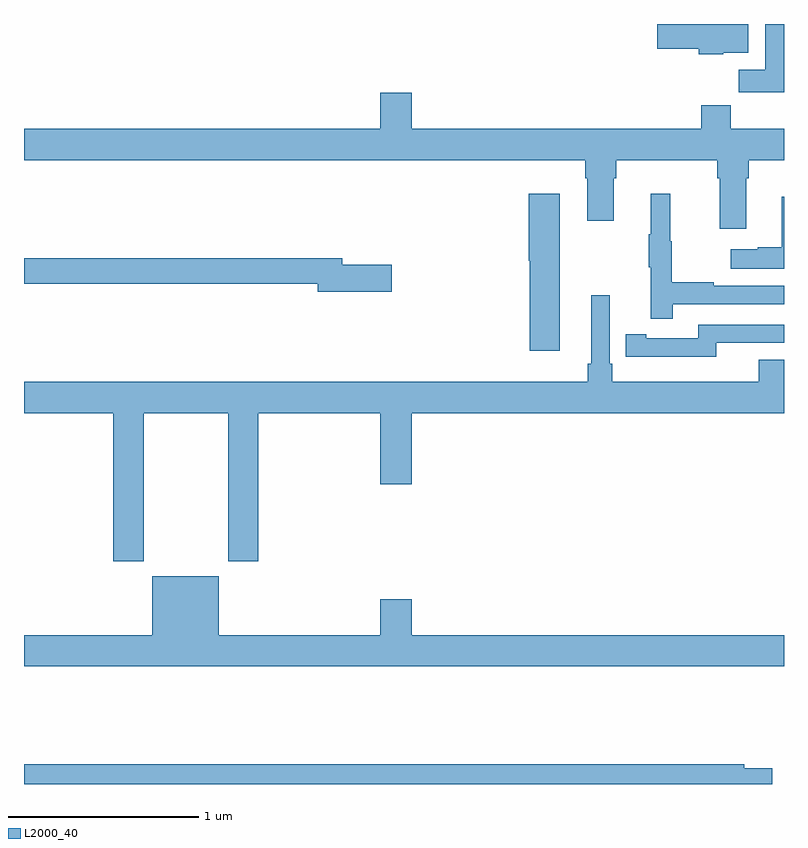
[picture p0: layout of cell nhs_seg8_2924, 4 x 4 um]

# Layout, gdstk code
import gdstk
lib = gdstk.Library(unit=1e-6, precision=1e-09)
def P(c, l, *ps):  # polygons
    for p in ps: c.add(gdstk.Polygon(p, *l))
L2000_40 = (2000, 40)

nhs_seg8_2924 = lib.new_cell('nhs_seg8_2924')
P(nhs_seg8_2924, L2000_40, [(299,1099.9),(298.901,1099.9),(298.901,1099.66),(298.762,1099.66),(298.762,1099.542),(299,1099.542)],
  [(298.68,1099.748),(298.813,1099.748),(298.813,1099.9),(298.332,1099.9),(298.332,1099.771),(298.55,1099.771),(298.55,1099.742),(298.68,1099.742)],
  [(297.04,1099.537),(296.876,1099.537),(296.876,1099.348),(295,1099.348),(295,1099.184),(297.953,1099.184),(297.953,1099.088),(297.965,1099.088),(297.965,1098.864),(298.105,1098.864),(298.105,1099.088),(298.118,1099.088),(298.118,1099.184),(298.649,1099.184),(298.649,1099.088),(298.661,1099.088),(298.661,1098.822),(298.801,1098.822),(298.801,1099.088),(298.814,1099.088),(298.814,1099.184),(299,1099.184),(299,1099.348),(298.721,1099.348),(298.721,1099.472),(298.565,1099.472),(298.565,1099.348),(297.04,1099.348)],
  [(298.415,1098.426),(299,1098.426),(299,1098.522),(298.631,1098.522),(298.631,1098.542),(298.408,1098.542),(298.408,1098.756),(298.4,1098.756),(298.4,1099.006),(298.298,1099.006),(298.298,1098.793),(298.287,1098.793),(298.287,1098.619),(298.298,1098.619),(298.298,1098.348),(298.415,1098.348)],
  [(297.82,1099.006),(297.656,1099.006),(297.656,1098.654),(297.662,1098.654),(297.662,1098.18),(297.82,1098.18)],
  [(299,1098.991),(298.988,1098.991),(298.988,1098.725),(298.862,1098.725),(298.862,1098.715),(298.719,1098.715),(298.719,1098.611),(299,1098.611)],
  [(296.935,1098.632),(296.674,1098.632),(296.674,1098.668),(295,1098.668),(295,1098.532),(296.546,1098.532),(296.546,1098.49),(296.935,1098.49)],
  [(295.629,1097.852),(296.074,1097.852),(296.074,1097.073),(296.234,1097.073),(296.234,1097.852),(296.876,1097.852),(296.876,1097.478),(297.04,1097.478),(297.04,1097.852),(299,1097.852),(299,1098.133),(298.868,1098.133),(298.868,1098.016),(298.097,1098.016),(298.097,1098.112),(298.083,1098.112),(298.083,1098.472),(297.986,1098.472),(297.986,1098.112),(297.967,1098.112),(297.967,1098.016),(295,1098.016),(295,1097.852),(295.469,1097.852),(295.469,1097.073),(295.629,1097.073)],
  [(298.644,1098.222),(299,1098.222),(299,1098.318),(298.548,1098.318),(298.548,1098.246),(298.276,1098.246),(298.276,1098.266),(298.168,1098.266),(298.168,1098.15),(298.276,1098.15),(298.276,1098.149),(298.644,1098.149)],
  [(299,1096.684),(297.04,1096.684),(297.04,1096.873),(296.876,1096.873),(296.876,1096.684),(296.026,1096.684),(296.026,1096.993),(295.676,1096.993),(295.676,1096.684),(295,1096.684),(295,1096.52),(299,1096.52)],
  [(298.937,1095.984),(298.79,1095.984),(298.79,1096.004),(295,1096.004),(295,1095.9),(298.937,1095.9)])

lib.write_gds('nhs_seg8_2924.gds')
